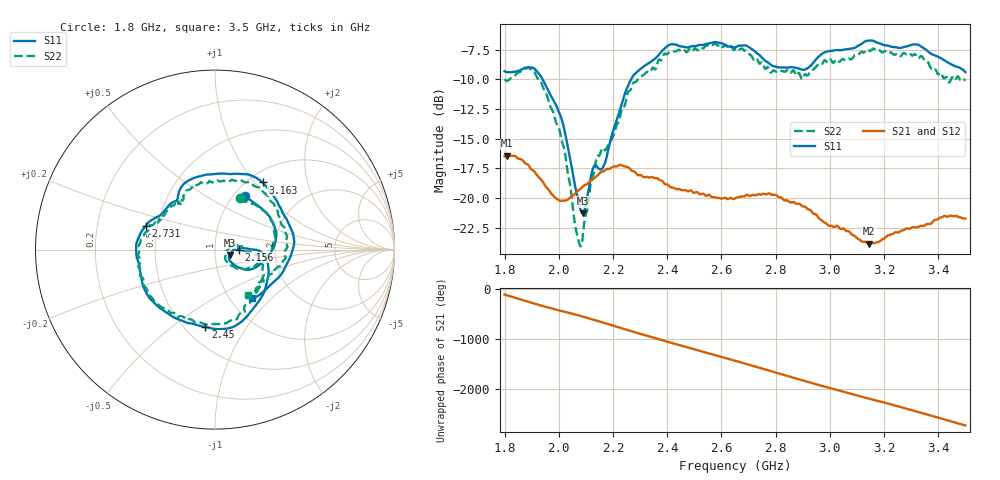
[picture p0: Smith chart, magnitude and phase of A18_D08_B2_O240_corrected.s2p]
! Created with skrf 1.9.0 (http://scikit-rf.org).
# Hz S RI R 50.0
!freq ReS11 ImS11 ReS21 ImS21 ReS12 ImS12 ReS22 ImS22
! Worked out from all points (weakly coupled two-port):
!   1601 points, 1.8 GHz to 3.5 GHz, reference 50 ohm
!   highest |S21| = -16.42 dB at 1.808 GHz (marker M1); lowest = -23.8 dB at 3.144 GHz (marker M2)
!   lowest |S11| = -21.3 dB at 2.089 GHz (marker M3), VSWR 1.19, Z = 58.7 - j3.58 ohm
!   |S11| at or under -10 dB: 1.941 GHz to 2.266 GHz (325.6 MHz wide, 15.5 % of centre)
!   |S22| runs from -24.0 to -7.0 dB; largest |S21 - S12| = 0.0029
!   S11 on the Smith chart (normalised r, x): 1.8 GHz: 1.12, +0.76; 2.156 GHz: 1.30, -0.00; 2.45 GHz: 0.63, -0.67; 2.731 GHz: 0.43, +0.14; 3.163 GHz: 1.16, +1.10; 3.5 GHz: 1.27, -0.77
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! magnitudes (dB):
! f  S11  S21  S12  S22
! 1.8 GHz  -9.3  -16.5  -16.5  -10.0
! 1.808 GHz  -9.4  -16.4  -16.4  -10.1
! 1.886 GHz  -9.0  -17.2  -17.2  -9.0
! 1.938 GHz  -9.9  -18.6  -18.6  -10.4
! 2.011 GHz  -13.4  -20.2  -20.2  -15.2
! 2.065 GHz  -19.5  -19.5  -19.5  -22.8
! 2.084 GHz  -21.2  -19.1  -19.1  -23.9
! 2.089 GHz  -21.3  -19.0  -19.0  -23.1
! 2.127 GHz  -17.4  -18.4  -18.4  -18.0
! 2.156 GHz  -17.6  -17.8  -17.8  -16.0
! 2.196 GHz  -14.6  -17.4  -17.4  -15.0
! 2.263 GHz  -10.1  -17.5  -17.6  -10.9
! 2.367 GHz  -8.0  -18.4  -18.3  -8.4
! 2.45 GHz  -7.2  -19.3  -19.3  -7.6
! 2.65 GHz  -7.3  -20.0  -20.0  -7.5
! 2.731 GHz  -7.8  -19.7  -19.8  -8.2
! 2.934 GHz  -8.7  -21.2  -21.2  -9.2
! 3.144 GHz  -6.7  -23.8  -23.8  -7.6
! 3.163 GHz  -6.8  -23.8  -23.8  -7.4
! 3.217 GHz  -7.2  -23.1  -23.1  -7.8
! 3.326 GHz  -7.1  -22.4  -22.4  -8.2
! 3.5 GHz  -9.4  -21.7  -21.7  -10.1
